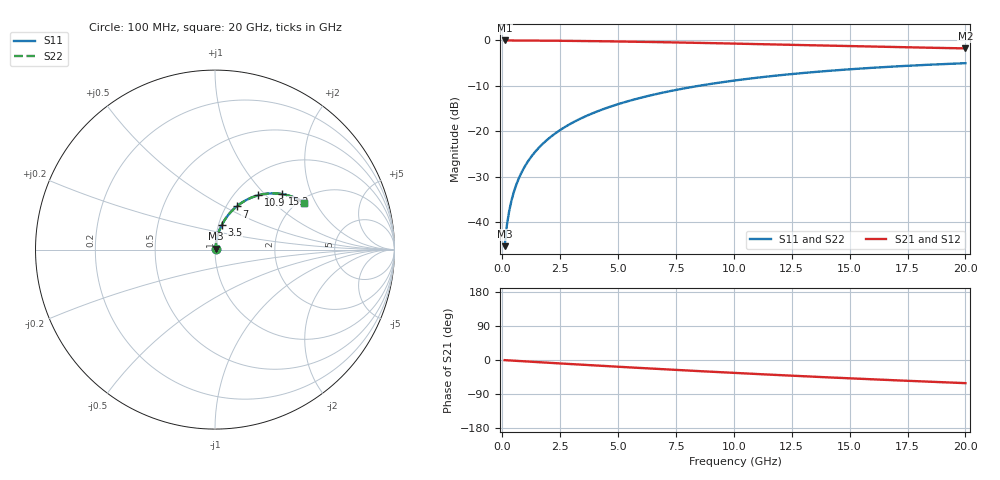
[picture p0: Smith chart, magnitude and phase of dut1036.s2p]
! Touchstone file exported from HFSS 2026.1.0
!  File:  C:/ffzhzh/LocalFiles/Ansys_Project_Files/temp_train_TMRDL_1036_1783160127_55132.aedt
!  Generated:  06:16:53 PM Jul  4, 2026
!  Design:  TMRDL
!  Project:  temp_train_TMRDL_1036_1783160127_55132
! Variables:
!  h_bsmrdl = 2um
!  h_ox = 20um
!  h_rdl = 5um
!  h_sub = 80um
!  h_tmrdl = 5.66um
!  h_tsv = 80um
!  h_via = 3um
!  l_bsmrdl = 300um
!  l_sub = 1337.99um
!  l_tmrdl = 937.99um
!  m_sub = 200um
!  pitch = 57.37um
!  r_tsv = 6um
!  s_tmrdl = 10um
!  w_bsmrdl = 18um
!  w_sub = 500um
!  w_tmrdl = 18.63um
!  x_tsv_center1 = 947.305um
!  x_tsv_center2 = 1265.305um
!  x_tsv_center3 = 2221.925um
!  x_tsv_center4 = 2539.925um
!  x_tsv_center5 = 3496.545um
!  x_tsv_center6 = 3814.545um
# GHz S MA R 50.000000
! Terminal data exported
! Port[1] = TM_RDL1_1_T1
! Port[2] = TM_RDL1_1_T2
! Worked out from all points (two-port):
!   200 points, 100 MHz to 20 GHz, reference 50 ohm
!   highest |S21| = -0.03 dB at 100 MHz (marker M1); lowest = -1.8 dB at 20 GHz (marker M2)
!   |S21| within 3 dB of the highest: start of sweep to end of sweep
!   lowest |S11| = -45.2 dB at 100 MHz (marker M3), VSWR 1.01, Z = 50.3 + j0.443 ohm
!   |S11| at or under -10 dB: start of sweep to 8.479 GHz
!   |S22| runs from -45.2 to -5.0 dB; largest |S21 - S12| = 2.2e-14
!   S11 on the Smith chart (normalised r, x): 100 MHz: 1.01, +0.01; 3.5 GHz: 1.04, +0.29; 7 GHz: 1.12, +0.58; 10.9 GHz: 1.27, +0.90; 15.2 GHz: 1.57, +1.27; 20 GHz: 2.13, +1.62
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0.1  0.005489 53.2  0.9967 -0.4  0.9967 -0.4  0.005489 53.2
! Gamma 0 0 0 0
! Port Impedance 50 0 50 0
0.2  0.00938 67.9  0.9965 -0.8  0.9965 -0.8  0.00938 67.9
0.3  0.01345 73.5  0.9964 -1.1  0.9964 -1.1  0.01345 73.5
0.4  0.01755 76.4  0.9962 -1.5  0.9962 -1.5  0.01755 76.4
0.5  0.02166 78.1  0.996 -1.9  0.996 -1.9  0.02166 78.1
0.7  0.02991 79.8  0.9956 -2.6  0.9956 -2.6  0.02991 79.8
1  0.04233 80.7  0.995 -3.7  0.995 -3.7  0.04233 80.7
1.4  0.05884 80.5  0.9938 -5.1  0.9938 -5.1  0.05884 80.5
2  0.08338 79.2  0.9914 -7.3  0.9914 -7.3  0.08338 79.2
2.7  0.1115 77.1  0.9879 -9.8  0.9879 -9.8  0.1115 77.1
3.5  0.1428 74.6  0.9829 -12.6  0.9829 -12.6  0.1428 74.6
4.2  0.1695 72.3  0.9779 -15.1  0.9779 -15.1  0.1695 72.3
5  0.1991 69.8  0.9715 -17.8  0.9715 -17.8  0.1991 69.7
6.8  0.2621 64.0  0.9552 -23.8  0.9552 -23.8  0.2621 64.0
7  0.2688 63.4  0.9532 -24.5  0.9532 -24.5  0.2688 63.4
8.5  0.3169 58.7  0.9377 -29.3  0.9377 -29.3  0.3169 58.7
10.1  0.364 53.9  0.92 -34.3  0.92 -34.3  0.364 53.9
10.9  0.3858 51.6  0.9109 -36.7  0.9109 -36.7  0.3858 51.6
13.4  0.4471 44.5  0.8824 -44.0  0.8824 -44.0  0.4471 44.5
15.2  0.4846 39.7  0.8624 -48.9  0.8624 -48.9  0.4846 39.7
16.7  0.5121 35.8  0.8466 -52.9  0.8466 -52.9  0.5121 35.8
20  0.561 27.7  0.8155 -61.1  0.8155 -61.1  0.561 27.7
